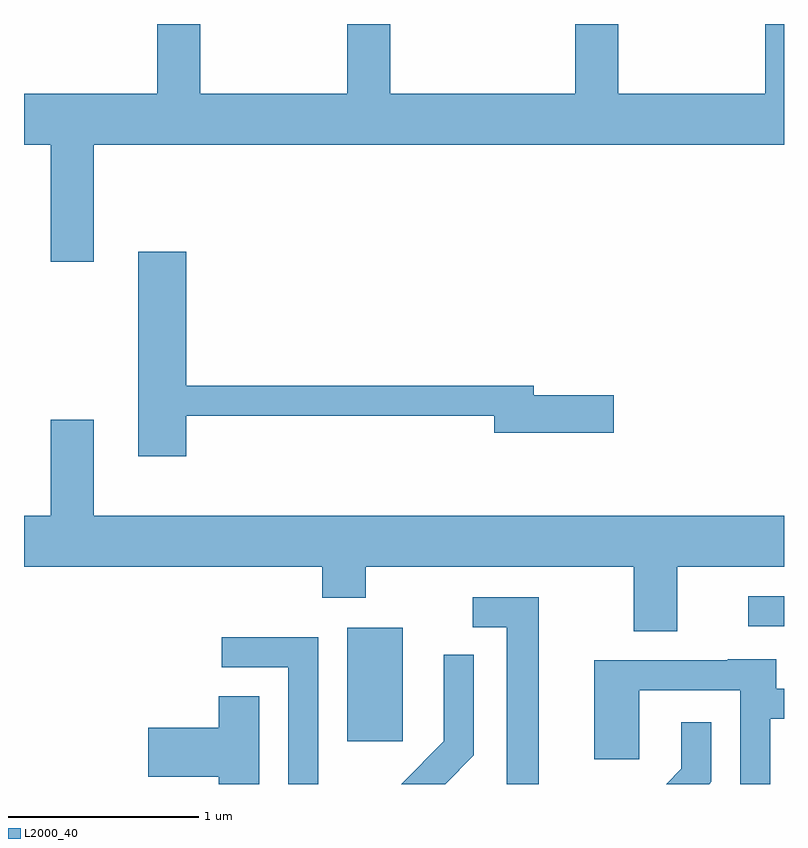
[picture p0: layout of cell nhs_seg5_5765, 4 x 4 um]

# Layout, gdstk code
import gdstk
lib = gdstk.Library(unit=1e-6, precision=1e-09)
def R(c, l, rs):  # rectangles x0, y0, x1, y1
    for r in rs: c.add(gdstk.rectangle(r[:2], r[2:], *l))
def P(c, l, *ps):  # polygons
    for p in ps: c.add(gdstk.Polygon(p, *l))
L2000_40 = (2000, 40)

nhs_seg5_5765 = lib.new_cell('nhs_seg5_5765')
R(nhs_seg5_5765, L2000_40, [(357.311,1480.296,357.604,1480.894), (359.423,1480.901,359.611,1481.059)])
P(nhs_seg5_5765, L2000_40, [(355.979,1483.436),(359.611,1483.436),(359.611,1484.072),(359.511,1484.072),(359.511,1483.704),(358.739,1483.704),(358.739,1484.072),(358.511,1484.072),(358.511,1483.704),(357.539,1483.704),(357.539,1484.072),(357.311,1484.072),(357.311,1483.704),(356.539,1483.704),(356.539,1484.072),(356.311,1484.072),(356.311,1483.704),(355.611,1483.704),(355.611,1483.436),(355.751,1483.436),(355.751,1482.821),(355.979,1482.821)],
  [(356.464,1482.011),(358.086,1482.011),(358.086,1481.921),(358.714,1481.921),(358.714,1482.119),(358.294,1482.119),(358.294,1482.169),(356.464,1482.169),(356.464,1482.874),(356.211,1482.874),(356.211,1481.796),(356.464,1481.796)],
  [(359.049,1481.216),(359.611,1481.216),(359.611,1481.484),(355.979,1481.484),(355.979,1481.989),(355.751,1481.989),(355.751,1481.484),(355.611,1481.484),(355.611,1481.216),(357.181,1481.216),(357.181,1481.051),(357.409,1481.051),(357.409,1481.216),(358.821,1481.216),(358.821,1480.876),(359.049,1480.876)],
  [(358.319,1481.054),(357.973,1481.054),(357.973,1480.896),(358.151,1480.896),(358.151,1480.072),(358.319,1480.072)],
  [(357.159,1480.844),(356.653,1480.844),(356.653,1480.686),(357.001,1480.686),(357.001,1480.072),(357.159,1480.072)],
  [(357.979,1480.224),(357.979,1480.753),(357.821,1480.753),(357.821,1480.297),(357.596,1480.072),(357.827,1480.072)],
  [(359.539,1480.416),(359.611,1480.416),(359.611,1480.574),(359.569,1480.574),(359.569,1480.729),(359.315,1480.729),(359.315,1480.724),(358.611,1480.724),(358.611,1480.201),(358.849,1480.201),(358.849,1480.566),(359.381,1480.566),(359.381,1480.072),(359.539,1480.072)],
  [(356.849,1480.534),(356.636,1480.534),(356.636,1480.369),(356.266,1480.369),(356.266,1480.111),(356.636,1480.111),(356.636,1480.072),(356.849,1480.072)],
  [(359.229,1480.084),(359.229,1480.398),(359.071,1480.398),(359.071,1480.152),(358.992,1480.072),(359.217,1480.072)])

lib.write_gds('nhs_seg5_5765.gds')
